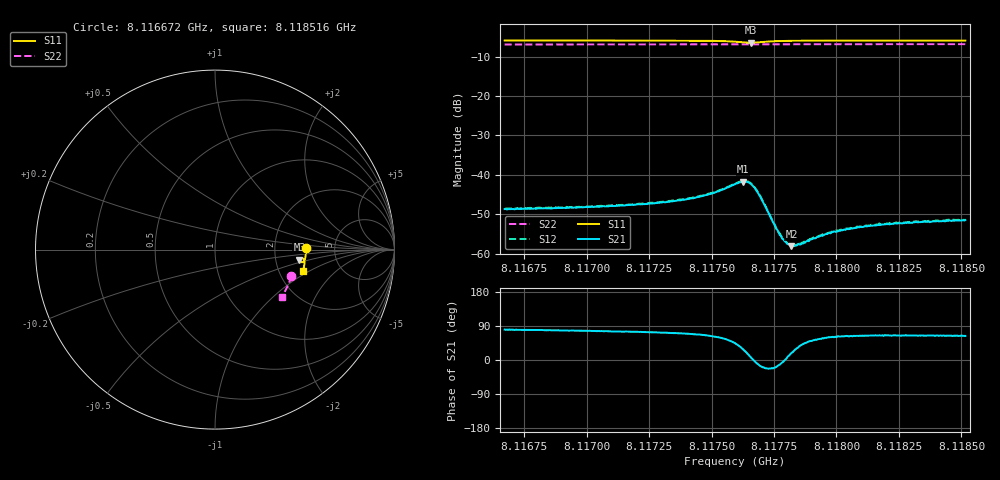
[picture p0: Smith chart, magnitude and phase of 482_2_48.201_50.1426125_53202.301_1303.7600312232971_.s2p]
#  HZ  S  RI  R  50.00
! Rohde & Schwarz Vector Network Analyzer
! Rohde-Schwarz,ZNB20-2Port,1311601062101988,3.16
! Created: UTC 3/20/2024, 11:57:42 AM
! freq[Hz]  re:S11  im:S11  re:S21  im:S21  re:S12  im:S12  re:S22  im:S22
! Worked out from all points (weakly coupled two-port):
!   401 points, 8.116672 GHz to 8.118516 GHz, reference 50 ohm
!   highest |S21| = -41.72 dB at 8.117626 GHz (marker M1); lowest = -58.1 dB at 8.11782 GHz (marker M2)
!   lowest |S11| = -6.5 dB at 8.117659 GHz (marker M3), VSWR 2.80, Z = 137 - j19.9 ohm
!   |S11| at or under -10 dB: nowhere
!   |S22| runs from -6.9 to -6.8 dB; largest |S21 - S12| = 0.0002
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8.116672e9  0.5068 0.00893  0.000618 0.00362  0.000671 0.00367  0.4259 -0.1466
8.1169808e9  0.5062 -0.015  0.000855 0.00377  0.000933 0.00381  0.4191 -0.1671
8.1172897e9  0.5038 -0.0401  0.00131 0.00421  0.00136 0.00425  0.4116 -0.1874
8.1173865e9  0.5019 -0.0491  0.00163 0.00452  0.00171 0.00459  0.409 -0.1936
8.1174695e9  0.4992 -0.0575  0.0022 0.00494  0.00233 0.00503  0.4063 -0.1989
8.1175248e9  0.4954 -0.064  0.00303 0.00534  0.00313 0.00541  0.4048 -0.2026
8.117594e9  0.4839 -0.0706  0.00541 0.00532  0.0056 0.00537  0.4023 -0.2069
8.1176263e9  0.4746 -0.0677  0.00721 0.0039  0.00736 0.00391  0.4008 -0.2087
8.1176447e9  0.4709 -0.0618  0.00775 0.00221  0.00794 0.0022  0.4003 -0.2095
8.1176585e9  0.4706 -0.0563  0.00758 0.000823  0.00772 0.000816  0.3999 -0.21
8.117677e9  0.4743 -0.0498  0.00646 -0.000719  0.00662 -0.000752  0.3995 -0.2109
8.1176908e9  0.4787 -0.0473  0.00539 -0.00131  0.00551 -0.00137  0.3994 -0.2116
8.11776e9  0.4943 -0.0532  0.00196 -0.000631  0.00196 -0.000637  0.398 -0.2162
8.1177784e9  0.4959 -0.0558  0.00165 -0.000262  0.00166 -0.000245  0.3975 -0.2174
8.1178014e9  0.4973 -0.0592  0.00134 0.000126  0.00137 0.000108  0.397 -0.2189
8.1178199e9  0.498 -0.0616  0.00117 0.000401  0.00122 0.000375  0.3964 -0.2201
8.1178383e9  0.4984 -0.0639  0.0011 0.000617  0.00114 0.000613  0.3959 -0.2214
8.1179029e9  0.4989 -0.0711  0.000961 0.00118  0.000981 0.00121  0.3937 -0.2253
8.1179812e9  0.4985 -0.0787  0.000919 0.00162  0.000958 0.00163  0.3912 -0.2303
8.1180366e9  0.4978 -0.0837  0.000907 0.00178  0.000947 0.00185  0.3893 -0.2339
8.1182117e9  0.4955 -0.0981  0.001 0.00212  0.00107 0.00221  0.3833 -0.2446
8.118516e9  0.4902 -0.1212  0.00118 0.00239  0.00119 0.00241  0.372 -0.2628
